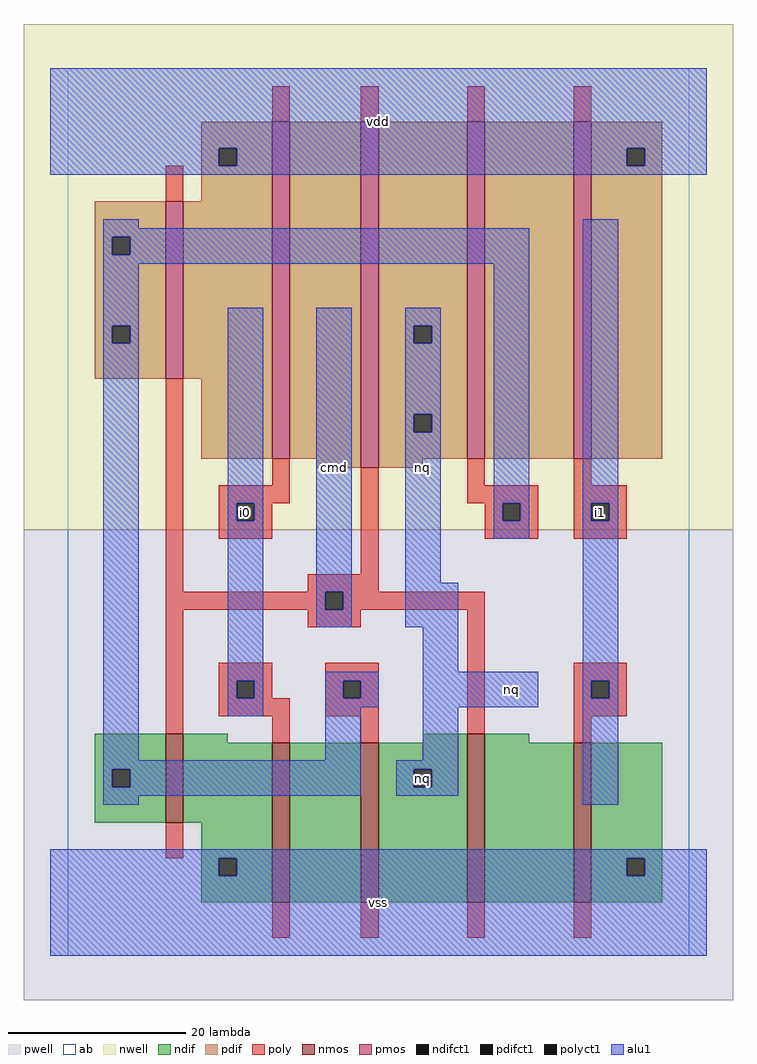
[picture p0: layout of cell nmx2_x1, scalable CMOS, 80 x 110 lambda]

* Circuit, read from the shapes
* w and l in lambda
.subckt nmx2_x1 cmd i0 i1 nq vdd vss
M1 vss cmd n1 VSUBS nfet w=10 l=2
M2 n2 i0 vss VSUBS nfet w=18 l=2
M3 nq n1 n2 VSUBS nfet w=18 l=2
M4 n3 cmd nq VSUBS nfet w=19 l=2
M5 vss i1 n3 VSUBS nfet w=18 l=2
M6 vdd cmd n1 n4 pfet w=20 l=2
M7 n5 i0 vdd n4 pfet w=38 l=2
M8 nq cmd n5 n4 pfet w=39 l=2
M9 n6 n1 nq n4 pfet w=38 l=2
M10 vdd i1 n6 n4 pfet w=38 l=2
.ends

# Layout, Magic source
magic
tech scmos
<< ab >>
rect 0 0 70 100
<< nwell >>
rect -5 48 75 105
<< pwell >>
rect -5 -5 75 48
<< poly >>
rect 23 94 25 98
rect 33 94 35 98
rect 45 94 47 98
rect 57 94 59 98
rect 11 85 13 89
rect 11 41 13 65
rect 23 53 25 56
rect 17 51 25 53
rect 17 49 19 51
rect 21 49 23 51
rect 17 47 23 49
rect 33 43 35 55
rect 45 53 47 56
rect 57 53 59 56
rect 45 51 53 53
rect 47 49 49 51
rect 51 49 53 51
rect 47 47 53 49
rect 57 51 63 53
rect 57 49 59 51
rect 61 49 63 51
rect 57 47 63 49
rect 27 41 35 43
rect 11 39 29 41
rect 31 39 47 41
rect 11 25 13 39
rect 27 37 33 39
rect 17 31 23 33
rect 17 29 19 31
rect 21 29 23 31
rect 29 31 35 33
rect 29 29 31 31
rect 33 29 35 31
rect 17 27 25 29
rect 29 27 35 29
rect 23 24 25 27
rect 33 24 35 27
rect 45 25 47 39
rect 57 31 63 33
rect 57 29 59 31
rect 61 29 63 31
rect 57 27 63 29
rect 11 11 13 15
rect 57 24 59 27
rect 23 2 25 6
rect 33 2 35 6
rect 45 2 47 6
rect 57 2 59 6
<< ndif >>
rect 3 21 11 25
rect 3 19 5 21
rect 7 19 11 21
rect 3 15 11 19
rect 13 24 18 25
rect 40 24 45 25
rect 13 15 23 24
rect 15 11 23 15
rect 15 9 17 11
rect 19 9 23 11
rect 15 6 23 9
rect 25 6 33 24
rect 35 21 45 24
rect 35 19 39 21
rect 41 19 45 21
rect 35 6 45 19
rect 47 24 52 25
rect 47 6 57 24
rect 59 11 67 24
rect 59 9 63 11
rect 65 9 67 11
rect 59 6 67 9
<< pdif >>
rect 15 91 23 94
rect 15 89 17 91
rect 19 89 23 91
rect 15 85 23 89
rect 3 81 11 85
rect 3 79 5 81
rect 7 79 11 81
rect 3 71 11 79
rect 3 69 5 71
rect 7 69 11 71
rect 3 65 11 69
rect 13 65 23 85
rect 15 56 23 65
rect 25 56 33 94
rect 28 55 33 56
rect 35 71 45 94
rect 35 69 39 71
rect 41 69 45 71
rect 35 61 45 69
rect 35 59 39 61
rect 41 59 45 61
rect 35 56 45 59
rect 47 56 57 94
rect 59 91 67 94
rect 59 89 63 91
rect 65 89 67 91
rect 59 56 67 89
rect 35 55 40 56
<< alu1 >>
rect -2 91 72 100
rect -2 89 17 91
rect 19 89 63 91
rect 65 89 72 91
rect -2 88 72 89
rect 4 82 8 83
rect 4 81 52 82
rect 4 79 5 81
rect 7 79 52 81
rect 4 78 52 79
rect 4 71 8 78
rect 4 69 5 71
rect 7 69 8 71
rect 4 22 8 69
rect 18 51 22 73
rect 18 49 19 51
rect 21 49 22 51
rect 18 31 22 49
rect 28 41 32 73
rect 28 39 29 41
rect 31 39 32 41
rect 28 37 32 39
rect 38 71 42 73
rect 38 69 39 71
rect 41 69 42 71
rect 38 61 42 69
rect 38 59 39 61
rect 41 59 42 61
rect 38 42 42 59
rect 48 51 52 78
rect 48 49 49 51
rect 51 49 52 51
rect 48 47 52 49
rect 58 51 62 83
rect 58 49 59 51
rect 61 49 62 51
rect 38 37 44 42
rect 40 32 44 37
rect 18 29 19 31
rect 21 29 22 31
rect 18 27 22 29
rect 29 31 35 32
rect 29 29 31 31
rect 33 29 35 31
rect 29 28 35 29
rect 40 28 53 32
rect 58 31 62 49
rect 58 29 59 31
rect 61 29 62 31
rect 29 22 33 28
rect 40 22 44 28
rect 4 21 33 22
rect 4 19 5 21
rect 7 19 33 21
rect 4 18 33 19
rect 37 21 44 22
rect 37 19 39 21
rect 41 19 44 21
rect 37 18 44 19
rect 4 17 8 18
rect 58 17 62 29
rect -2 11 72 12
rect -2 9 17 11
rect 19 9 63 11
rect 65 9 72 11
rect -2 0 72 9
<< nmos >>
rect 11 15 13 25
rect 23 6 25 24
rect 33 6 35 24
rect 45 6 47 25
rect 57 6 59 24
<< pmos >>
rect 11 65 13 85
rect 23 56 25 94
rect 33 55 35 94
rect 45 56 47 94
rect 57 56 59 94
<< polyct1 >>
rect 19 49 21 51
rect 49 49 51 51
rect 59 49 61 51
rect 29 39 31 41
rect 19 29 21 31
rect 31 29 33 31
rect 59 29 61 31
<< ndifct1 >>
rect 5 19 7 21
rect 17 9 19 11
rect 39 19 41 21
rect 63 9 65 11
<< pdifct1 >>
rect 17 89 19 91
rect 5 79 7 81
rect 5 69 7 71
rect 39 69 41 71
rect 39 59 41 61
rect 63 89 65 91
<< labels >>
rlabel polyct1 20 50 20 50 6 i0
rlabel alu1 30 55 30 55 6 cmd
rlabel alu1 35 6 35 6 6 vss
rlabel ndifct1 40 20 40 20 6 nq
rlabel alu1 50 30 50 30 6 nq
rlabel alu1 40 55 40 55 6 nq
rlabel alu1 35 94 35 94 6 vdd
rlabel polyct1 60 50 60 50 6 i1
<< end >>
